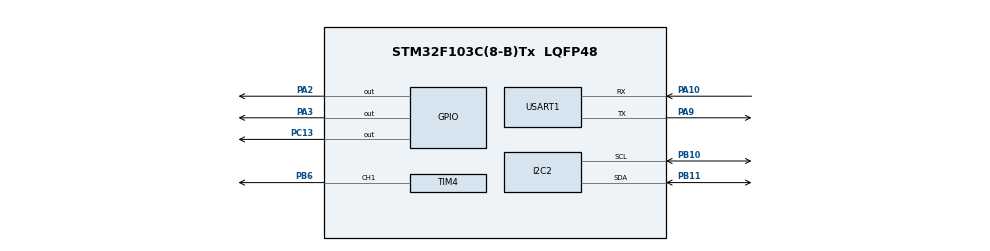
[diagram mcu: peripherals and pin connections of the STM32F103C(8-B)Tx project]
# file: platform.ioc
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I2C2.I2C_Mode=I2C_Standard
Mcu.Family=STM32F1
Mcu.Name=STM32F103C(8-B)Tx
Mcu.Package=LQFP48
NVIC.PriorityGroup=NVIC_PRIORITYGROUP_4
PA10.Mode=Asynchronous
PA10.Signal=USART1_RX
PA13.Mode=Serial_Wire
PA13.Signal=SYS_JTMS-SWDIO
PA14.Mode=Serial_Wire
PA14.Signal=SYS_JTCK-SWCLK
PA2.Signal=GPIO_Output
PA3.Signal=GPIO_Output
PA9.Mode=Asynchronous
PA9.Signal=USART1_TX
PB10.Mode=I2C
PB10.Signal=I2C2_SCL
PB11.Mode=I2C
PB11.Signal=I2C2_SDA
PB6.GPIO_ModeDefaultPP=GPIO_MODE_AF_OD
PB6.GPIO_Speed=GPIO_SPEED_FREQ_HIGH
PB6.Signal=S_TIM4_CH1
PC13-TAMPER-RTC.Signal=GPIO_Output
ProjectManager.HeapSize=0x200
ProjectManager.StackSize=0x400
ProjectManager.TargetToolchain=STM32CubeIDE
RCC.APB1Freq_Value=8000000
RCC.APB2Freq_Value=8000000
SH.S_TIM4_CH1.0=TIM4_CH1,PWM Generation1 CH1
TIM4.Channel-PWM\ Generation1\ CH1=TIM_CHANNEL_1
TIM4.OCMode_PWM-PWM\ Generation1\ CH1=TIM_OCMODE_PWM1
TIM4.Period=2000-1
TIM4.Prescaler=80-1
TIM4.Pulse-PWM\ Generation1\ CH1=40
USART1.VirtualMode=VM_ASYNC
board=custom

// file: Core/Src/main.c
/* USER CODE BEGIN Header */
/**
  ******************************************************************************
  * @file           : main.c
  * @brief          : Main program body
  ******************************************************************************
  * @attention
  *
  * <h2><center>&copy; Copyright (c) 2020 STMicroelectronics.
  * All rights reserved.</center></h2>
  *
  * This software component is licensed by ST under BSD 3-Clause license,
  * the "License"; You may not use this file except in compliance with the
  * License. You may obtain a copy of the License at:
  *                        opensource.org/licenses/BSD-3-Clause
  *
  ******************************************************************************
  */
/* USER CODE END Header */

#include "main.h"

/* USER CODE BEGIN Includes */
#include <string.h>

#include "state.h"
#include "calibration.h"
#include "lsm6ds3_tools.h"
#include "lsm303c_tools.h"
/* USER CODE END Includes */

I2C_HandleTypeDef hi2c2;

TIM_HandleTypeDef htim4;

UART_HandleTypeDef huart1;

/* USER CODE BEGIN PV */
stateIMU_rsc_t 		stateIMU_rsc;
stateIMU_isc_t 		stateIMU_isc;
state_system_t 		state_system;
state_zero_t		state_zero;

stateIMU_isc_t		stateIMU_isc_prev;
state_system_t		state_system_prev;
/* USER CODE END PV */

void SystemClock_Config(void);
static void MX_GPIO_Init(void);
static void MX_I2C2_Init(void);
static void MX_TIM4_Init(void);
static void MX_USART1_UART_Init(void);
/* USER CODE BEGIN PFP */
extern void initialise_monitor_handles(void);
/* USER CODE END PFP */

int main(void)
{

  /* MCU Configuration--------------------------------------------------------*/

  /* Reset of all peripherals, Initializes the Flash interface and the Systick. */
  HAL_Init();

  /* Configure the system clock */
  SystemClock_Config();

  /* Initialize all configured peripherals */
  MX_GPIO_Init();
  MX_I2C2_Init();
  MX_TIM4_Init();
  MX_USART1_UART_Init();
  /* USER CODE BEGIN 2 */
#if (DEBUG)
  initialise_monitor_handles();
#endif

  	// Global structures init
	memset(&stateIMU_rsc, 			0x00, sizeof(stateIMU_rsc));
	memset(&stateIMU_isc, 			0x00, sizeof(stateIMU_isc));
	memset(&state_system, 			0x00, sizeof(state_system));
	memset(&state_zero, 			0x00, sizeof(state_zero));

	memset(&stateIMU_isc_prev, 		0x00, sizeof(stateIMU_isc_prev));
	memset(&state_system_prev, 		0x00, sizeof(state_system_prev));

	state_system.MPU_state = 111;
	state_system.NRF_state = 111;
  /* USER CODE END 2 */

  /* Infinite loop */
  /* USER CODE BEGIN WHILE */
  IMU_Init(&hi2c2);

  while (1)
  {
    /* USER CODE END WHILE */

    /* USER CODE BEGIN 3 */
	  HAL_TIM_PWM_Start(&htim4, TIM_CHANNEL_1);

	  Calibration(&huart1, &htim4);
	  return 0;
  }
  /* USER CODE END 3 */
}

void SystemClock_Config(void)
{
  RCC_OscInitTypeDef RCC_OscInitStruct = {0};
  RCC_ClkInitTypeDef RCC_ClkInitStruct = {0};

  /** Initializes the CPU, AHB and APB busses clocks
  */
  RCC_OscInitStruct.OscillatorType = RCC_OSCILLATORTYPE_HSI;
  RCC_OscInitStruct.HSIState = RCC_HSI_ON;
  RCC_OscInitStruct.HSICalibrationValue = RCC_HSICALIBRATION_DEFAULT;
  RCC_OscInitStruct.PLL.PLLState = RCC_PLL_NONE;
  if (HAL_RCC_OscConfig(&RCC_OscInitStruct) != HAL_OK)
  {
    Error_Handler();
  }
  /** Initializes the CPU, AHB and APB busses clocks
  */
  RCC_ClkInitStruct.ClockType = RCC_CLOCKTYPE_HCLK|RCC_CLOCKTYPE_SYSCLK
                              |RCC_CLOCKTYPE_PCLK1|RCC_CLOCKTYPE_PCLK2;
  RCC_ClkInitStruct.SYSCLKSource = RCC_SYSCLKSOURCE_HSI;
  RCC_ClkInitStruct.AHBCLKDivider = RCC_SYSCLK_DIV1;
  RCC_ClkInitStruct.APB1CLKDivider = RCC_HCLK_DIV1;
  RCC_ClkInitStruct.APB2CLKDivider = RCC_HCLK_DIV1;

  if (HAL_RCC_ClockConfig(&RCC_ClkInitStruct, FLASH_LATENCY_0) != HAL_OK)
  {
    Error_Handler();
  }
}

static void MX_I2C2_Init(void)
{

  hi2c2.Instance = I2C2;
  hi2c2.Init.ClockSpeed = 100000;
  hi2c2.Init.DutyCycle = I2C_DUTYCYCLE_2;
  hi2c2.Init.OwnAddress1 = 0;
  hi2c2.Init.AddressingMode = I2C_ADDRESSINGMODE_7BIT;
  hi2c2.Init.DualAddressMode = I2C_DUALADDRESS_DISABLE;
  hi2c2.Init.OwnAddress2 = 0;
  hi2c2.Init.GeneralCallMode = I2C_GENERALCALL_DISABLE;
  hi2c2.Init.NoStretchMode = I2C_NOSTRETCH_DISABLE;
  if (HAL_I2C_Init(&hi2c2) != HAL_OK)
  {
    Error_Handler();
  }
  /* USER CODE BEGIN I2C2_Init 2 */
  if (LSM6DS3)
	  i2c_lsm6ds3 = &hi2c2;
  if (LSM303C)
	  i2c_lsm303c = &hi2c2;
  /* USER CODE END I2C2_Init 2 */

}

static void MX_TIM4_Init(void)
{

  TIM_MasterConfigTypeDef sMasterConfig = {0};
  TIM_OC_InitTypeDef sConfigOC = {0};

  htim4.Instance = TIM4;
  htim4.Init.Prescaler = 80-1;
  htim4.Init.CounterMode = TIM_COUNTERMODE_UP;
  htim4.Init.Period = 2000-1;
  htim4.Init.ClockDivision = TIM_CLOCKDIVISION_DIV1;
  htim4.Init.AutoReloadPreload = TIM_AUTORELOAD_PRELOAD_DISABLE;
  if (HAL_TIM_PWM_Init(&htim4) != HAL_OK)
  {
    Error_Handler();
  }
  sMasterConfig.MasterOutputTrigger = TIM_TRGO_RESET;
  sMasterConfig.MasterSlaveMode = TIM_MASTERSLAVEMODE_DISABLE;
  if (HAL_TIMEx_MasterConfigSynchronization(&htim4, &sMasterConfig) != HAL_OK)
  {
    Error_Handler();
  }
  sConfigOC.OCMode = TIM_OCMODE_PWM1;
  sConfigOC.Pulse = 40;
  sConfigOC.OCPolarity = TIM_OCPOLARITY_HIGH;
  sConfigOC.OCFastMode = TIM_OCFAST_DISABLE;
  if (HAL_TIM_PWM_ConfigChannel(&htim4, &sConfigOC, TIM_CHANNEL_1) != HAL_OK)
  {
    Error_Handler();
  }
  HAL_TIM_MspPostInit(&htim4);

}

static void MX_USART1_UART_Init(void)
{

  huart1.Instance = USART1;
  huart1.Init.BaudRate = 115200;
  huart1.Init.WordLength = UART_WORDLENGTH_8B;
  huart1.Init.StopBits = UART_STOPBITS_1;
  huart1.Init.Parity = UART_PARITY_NONE;
  huart1.Init.Mode = UART_MODE_TX_RX;
  huart1.Init.HwFlowCtl = UART_HWCONTROL_NONE;
  huart1.Init.OverSampling = UART_OVERSAMPLING_16;
  if (HAL_UART_Init(&huart1) != HAL_OK)
  {
    Error_Handler();
  }

}

static void MX_GPIO_Init(void)
{
  GPIO_InitTypeDef GPIO_InitStruct = {0};

  /* GPIO Ports Clock Enable */
  __HAL_RCC_GPIOC_CLK_ENABLE();
  __HAL_RCC_GPIOA_CLK_ENABLE();
  __HAL_RCC_GPIOB_CLK_ENABLE();

  /*Configure GPIO pin Output Level */
  HAL_GPIO_WritePin(GPIOC, GPIO_PIN_13, GPIO_PIN_RESET);

  /*Configure GPIO pin Output Level */
  HAL_GPIO_WritePin(GPIOA, GPIO_PIN_2|GPIO_PIN_3, GPIO_PIN_RESET);

  /*Configure GPIO pin : PC13 */
  GPIO_InitStruct.Pin = GPIO_PIN_13;
  GPIO_InitStruct.Mode = GPIO_MODE_OUTPUT_PP;
  GPIO_InitStruct.Pull = GPIO_NOPULL;
  GPIO_InitStruct.Speed = GPIO_SPEED_FREQ_LOW;
  HAL_GPIO_Init(GPIOC, &GPIO_InitStruct);

  /*Configure GPIO pins : PA2 PA3 */
  GPIO_InitStruct.Pin = GPIO_PIN_2|GPIO_PIN_3;
  GPIO_InitStruct.Mode = GPIO_MODE_OUTPUT_PP;
  GPIO_InitStruct.Pull = GPIO_NOPULL;
  GPIO_InitStruct.Speed = GPIO_SPEED_FREQ_LOW;
  HAL_GPIO_Init(GPIOA, &GPIO_InitStruct);

}

/* USER CODE BEGIN 4 */
//#if (!DEBUG)
//#include  <errno.h>
//#include  <sys/unistd.h>
//int _write(int file, char *data, int len)
//{
//   if ((file != STDOUT_FILENO) && (file != STDERR_FILENO))
//   {
//      errno = EBADF;
//      return -1;
//   }
//
//   // arbitrary timeout 1000
//   HAL_StatusTypeDef status = HAL_UART_Transmit(&huart1, (uint8_t*)data, len, 1000);
//
//   // return # of bytes written - as best we can tell
//   return (status == HAL_OK ? len : 0);
//}
//#endif

/* USER CODE END 4 */

void Error_Handler(void)
{
}

/************************ (C) COPYRIGHT STMicroelectronics *****END OF FILE****/
